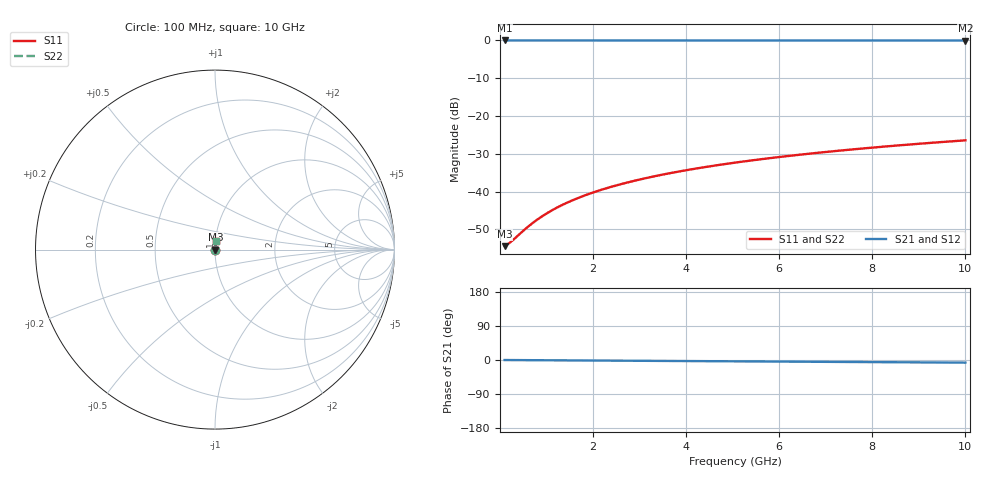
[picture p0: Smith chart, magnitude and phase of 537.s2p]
# Hz S RI R 50.00
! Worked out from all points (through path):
!   100 points, 100 MHz to 10 GHz, reference 50 ohm
!   highest |S21| = -0.02 dB at 100 MHz (marker M1); lowest = 0.0 dB at 10 GHz (marker M2)
!   lowest |S11| = -54.4 dB at 100 MHz (marker M3), VSWR 1.00, Z = 50.2 + j0.0477 ohm
!   |S11| at or under -10 dB: start of sweep to end of sweep
!   |S22| runs from -54.4 to -26.4 dB; largest |S21 - S12| = 0
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1e8  0.00184 0.000475  0.9982 -0.00121  0.9982 -0.00121  0.00184 0.000475
2e8  0.00185 0.00095  0.9981 -0.00242  0.9981 -0.00242  0.00185 0.00095
3e8  0.00186 0.00142  0.9981 -0.00363  0.9981 -0.00363  0.00186 0.00142
5e8  0.00189 0.00237  0.9981 -0.00605  0.9981 -0.00605  0.00189 0.00237
7e8  0.00191 0.00332  0.9981 -0.00847  0.9981 -0.00847  0.00191 0.00332
9e8  0.00194 0.00427  0.998 -0.0109  0.998 -0.0109  0.00194 0.00427
1.1e9  0.00197 0.00522  0.998 -0.0133  0.998 -0.0133  0.00197 0.00522
1.3e9  0.002 0.00617  0.9979 -0.0157  0.9979 -0.0157  0.002 0.00617
1.5e9  0.00204 0.00712  0.9979 -0.0182  0.9979 -0.0182  0.00204 0.00712
1.8e9  0.0021 0.00854  0.9978 -0.0218  0.9978 -0.0218  0.0021 0.00854
2.1e9  0.00218 0.00996  0.9977 -0.0254  0.9977 -0.0254  0.00218 0.00996
2.5e9  0.00229 0.0119  0.9975 -0.0303  0.9975 -0.0303  0.00229 0.0119
2.9e9  0.00242 0.0138  0.9973 -0.0351  0.9973 -0.0351  0.00242 0.0138
3.4e9  0.00261 0.0161  0.997 -0.0411  0.997 -0.0411  0.00261 0.0161
3.8e9  0.00279 0.018  0.9968 -0.046  0.9968 -0.046  0.00279 0.018
4.2e9  0.00298 0.0199  0.9965 -0.0508  0.9965 -0.0508  0.00298 0.0199
5.1e9  0.00347 0.0241  0.9958 -0.0617  0.9958 -0.0617  0.00347 0.0241
5.9e9  0.00399 0.0279  0.995 -0.0714  0.995 -0.0714  0.00399 0.0279
6.7e9  0.00458 0.0317  0.9942 -0.081  0.9942 -0.081  0.00458 0.0317
7.5e9  0.00524 0.0354  0.9932 -0.0907  0.9932 -0.0907  0.00524 0.0354
8.4e9  0.00608 0.0396  0.9919 -0.1015  0.9919 -0.1015  0.00608 0.0396
1e10  0.00779 0.047  0.9894 -0.1208  0.9894 -0.1208  0.00779 0.047
